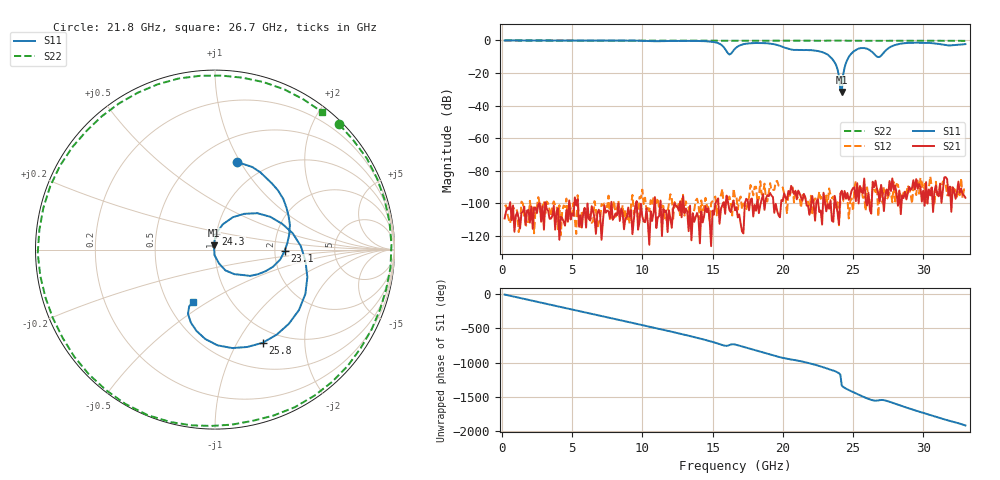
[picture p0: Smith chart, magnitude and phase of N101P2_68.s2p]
# GHZ S RI R 50
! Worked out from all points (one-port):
!   329 points, 200 MHz to 33 GHz, reference 50 ohm
!   lowest |S11| = -31.7 dB at 24.2 GHz (marker M1), VSWR 1.05, Z = 49.3 + j2.47 ohm
!   |S11| at or under -10 dB: 23.36 GHz to 24.71 GHz (1.347 GHz wide, 5.6 % of centre); 26.73 GHz to 26.91 GHz (182.8 MHz wide, 0.682 % of centre)
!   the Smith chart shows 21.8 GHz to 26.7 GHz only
!   S11 on the Smith chart (normalised r, x): 21.8 GHz: 0.74, +0.97; 23.1 GHz: 2.26, -0.05; 24.3 GHz: 0.99, +0.18; 25.8 GHz: 0.82, -1.28; 26.7 GHz: 0.67, -0.44
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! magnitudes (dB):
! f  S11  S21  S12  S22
! 200 MHz  0.0  -109.3  -101.7  0.0
! 5.7 GHz  0.0  -114.9  -104.8  -0.1
! 11.2 GHz  -0.5  -107.9  -103.5  -0.1
! 15.2 GHz  -1.2  -100.1  -95.8  -0.2
! 16.2 GHz  -8.6  -104.2  -95.9  -0.2
! 16.6 GHz  -5.1  -104.3  -96.5  -0.2
! 18.4 GHz  -1.6  -101.2  -86.4  -0.2
! 21.8 GHz  -6.0  -101.5  -99.0  -0.1
! 22.1 GHz  -6.0  -95.5  -107.3  -0.1
! 23.1 GHz  -8.2  -104.9  -95.2  -0.1
! 23.8 GHz  -15.2  -100.7  -102.0  -0.1
! 24 GHz  -22.0  -113.0  -113.5  0.0
! 24.1 GHz  -30.3  -94.0  -98.9  -0.1
! 24.2 GHz  -31.7  -92.3  -98.0  -0.1
! 24.3 GHz  -21.2  -97.5  -98.8  -0.1
! 24.5 GHz  -13.7  -97.2  -95.0  -0.2
! 24.8 GHz  -8.9  -95.9  -98.9  -0.1
! 25.8 GHz  -4.7  -84.8  -96.1  -0.2
! 26.7 GHz  -9.9  -90.9  -89.8  -0.3
! 27.6 GHz  -4.3  -86.4  -93.9  -0.2
! 28.8 GHz  -1.6  -97.6  -94.0  -0.2
! 33 GHz  -2.2  -96.6  -91.5  -0.3
